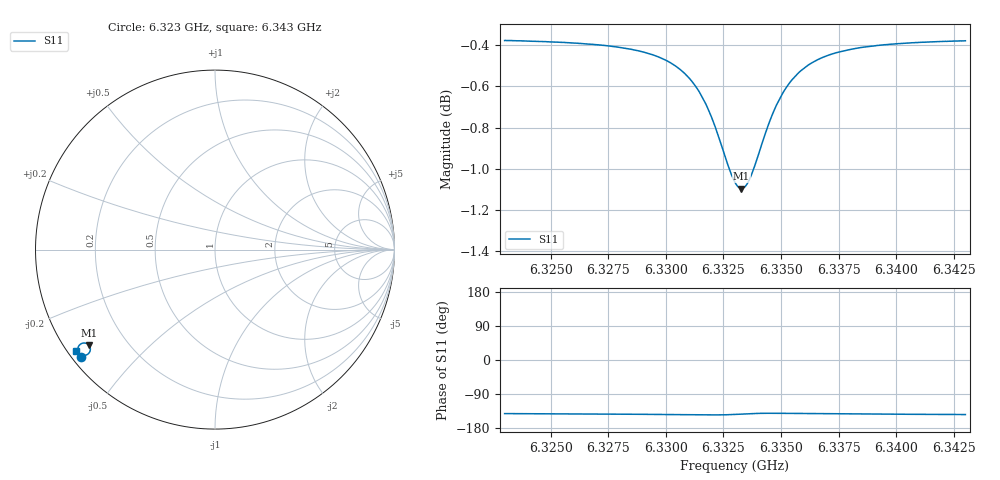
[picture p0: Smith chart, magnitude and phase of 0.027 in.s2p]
!Keysight Technologies,E5080B,MY59201595,A.15.40.08
!Date: Tuesday, March 01, 2022 11:37:54
!Correction: S11(Off)
!S21(Off)
!S12(Off)
!S22(Off)
!S2P File: Measurements: S11, S21, S12, S22:
# Hz S  MA  R 50
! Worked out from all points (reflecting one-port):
!   1601 points, 6.323 GHz to 6.343 GHz, reference 50 ohm
!   lowest |S11| = -1.1 dB at 6.33328 GHz (marker M1), VSWR 15.86, Z = 3.51 - j16.8 ohm
!   phase of S11 starts at -141 deg and turns -2 deg over the sweep
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6.323e9  0.9576 -141.4  1e-10 45.0  1e-10 45.0  1e-10 45.0
6.326338e9  0.956 -142.3  1e-10 45.0  1e-10 45.0  1e-10 45.0
6.328262e9  0.9533 -143.0  1e-10 45.0  1e-10 45.0  1e-10 45.0
6.329675e9  0.9488 -143.7  1e-10 45.0  1e-10 45.0  1e-10 45.0
6.3309e9  0.9391 -144.4  1e-10 45.0  1e-10 45.0  1e-10 45.0
6.331325e9  0.9328 -144.6  1e-10 45.0  1e-10 45.0  1e-10 45.0
6.331688e9  0.9253 -144.8  1e-10 45.0  1e-10 45.0  1e-10 45.0
6.3321e9  0.9137 -144.9  1e-10 45.0  1e-10 45.0  1e-10 45.0
6.332488e9  0.9003 -144.7  1e-10 45.0  1e-10 45.0  1e-10 45.0
6.33275e9  0.8912 -144.3  1e-10 45.0  1e-10 45.0  1e-10 45.0
6.333e9  0.8844 -143.6  1e-10 45.0  1e-10 45.0  1e-10 45.0
6.333275e9  0.8814 -142.8  1e-10 45.0  1e-10 45.0  1e-10 45.0
6.33355e9  0.8842 -141.9  1e-10 45.0  1e-10 45.0  1e-10 45.0
6.333825e9  0.8917 -141.2  1e-10 45.0  1e-10 45.0  1e-10 45.0
6.3342e9  0.9049 -140.7  1e-10 45.0  1e-10 45.0  1e-10 45.0
6.334575e9  0.9173 -140.6  1e-10 45.0  1e-10 45.0  1e-10 45.0
6.3349e9  0.926 -140.7  1e-10 45.0  1e-10 45.0  1e-10 45.0
6.335288e9  0.9338 -140.9  1e-10 45.0  1e-10 45.0  1e-10 45.0
6.336338e9  0.9457 -141.5  1e-10 45.0  1e-10 45.0  1e-10 45.0
6.337775e9  0.9522 -142.3  1e-10 45.0  1e-10 45.0  1e-10 45.0
6.339675e9  0.9555 -143.0  1e-10 45.0  1e-10 45.0  1e-10 45.0
6.343e9  0.9574 -143.9  1e-10 45.0  1e-10 45.0  1e-10 45.0
